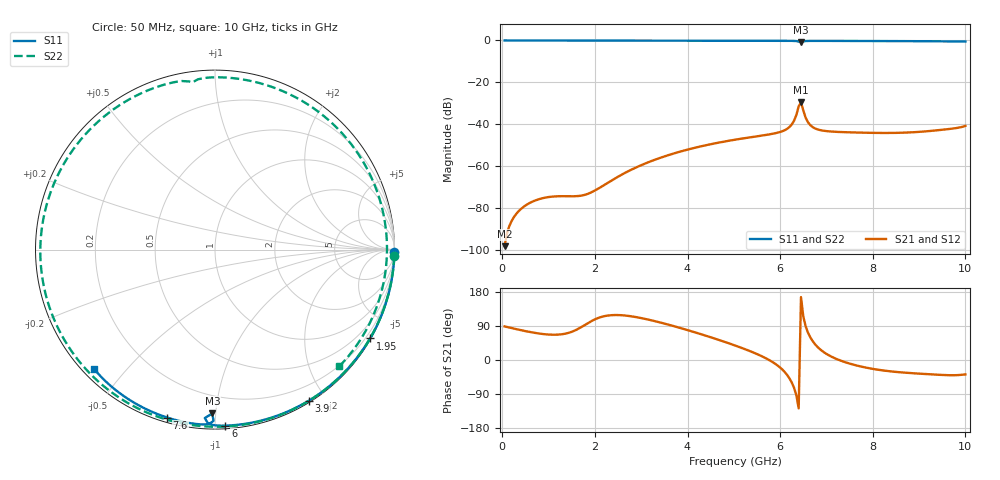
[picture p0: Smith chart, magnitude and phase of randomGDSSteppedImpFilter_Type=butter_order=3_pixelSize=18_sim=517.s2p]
! freq	dB(S11)	phase(S11)	dB(S12)	phase(S12)
!  dB(S21)	phase(S21)	dB(S22)	phase(S22)
!S-par simulation data
#  GHz  S  DB  R 50
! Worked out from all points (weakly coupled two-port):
!   200 points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, 50 MHz to 10 GHz, reference 50 ohm
!   highest |S21| = -29.47 dB at 6.45 GHz (marker M1); lowest = -98.0 dB at 50 MHz (marker M2)
!   lowest |S11| = -0.8 dB at 6.45 GHz (marker M3), VSWR 22.00, Z = 4.46 - j49 ohm
!   |S11| at or under -10 dB: nowhere
!   |S22| runs from -0.5 to 0.0 dB; largest |S21 - S12| = 0
!   S11 on the Smith chart (normalised r, x): 50 MHz: open; 1.95 GHz: 0.03, -3.76; 3.9 GHz: 0.02, -1.80; 6 GHz: 0.02, -1.06; 7.6 GHz: 0.02, -0.75; 10 GHz: 0.03, -0.41
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0.05  -0.00 -0.8  -98.05 88.6  -98.05 88.6  -0.00 -2.2
0.4  -0.01 -6.2  -80.38 78.8  -80.38 78.8  -0.03 -17.0
0.8  -0.02 -12.4  -75.60 69.8  -75.60 69.8  -0.04 -33.9
1.3  -0.02 -20.0  -74.22 68.2  -74.22 68.2  -0.07 -54.7
1.75  -0.03 -26.8  -73.76 90.0  -73.76 90.0  -0.09 -73.0
1.95  -0.04 -29.8  -72.11 104.3  -72.11 104.3  -0.10 -81.0
2.65  -0.05 -40.2  -63.12 117.4  -63.12 117.4  -0.14 -108.5
3.4  -0.07 -51.0  -56.02 99.3  -56.02 99.3  -0.17 -137.5
3.9  -0.08 -58.1  -52.61 82.5  -52.61 82.5  -0.20 -156.8
4.5  -0.10 -66.4  -49.45 60.0  -49.45 60.0  -0.24 179.6
5.05  -0.11 -73.9  -47.21 37.3  -47.21 37.3  -0.27 157.3
5.5  -0.13 -79.9  -45.69 15.7  -45.69 15.7  -0.30 138.5
6  -0.15 -86.6  -43.62 -19.9  -43.62 -19.9  -0.32 116.9
6.25  -0.19 -90.3  -40.06 -59.2  -40.06 -59.2  -0.34 105.8
6.45  -0.79 -90.9  -29.47 166.0  -29.47 166.0  -0.54 97.6
6.55  -0.27 -91.7  -36.78 89.1  -36.78 89.1  -0.37 93.4
6.7  -0.20 -94.3  -41.27 50.2  -41.27 50.2  -0.35 86.4
6.95  -0.20 -97.8  -43.07 20.0  -43.07 20.0  -0.35 75.2
7.6  -0.24 -105.9  -43.86 -12.9  -43.86 -12.9  -0.36 46.7
8.35  -0.29 -115.0  -44.09 -29.5  -44.09 -29.5  -0.36 15.5
9.1  -0.36 -124.0  -43.41 -36.7  -43.41 -36.7  -0.38 -13.0
10  -0.49 -135.3  -40.72 -38.0  -40.72 -38.0  -0.45 -43.1
